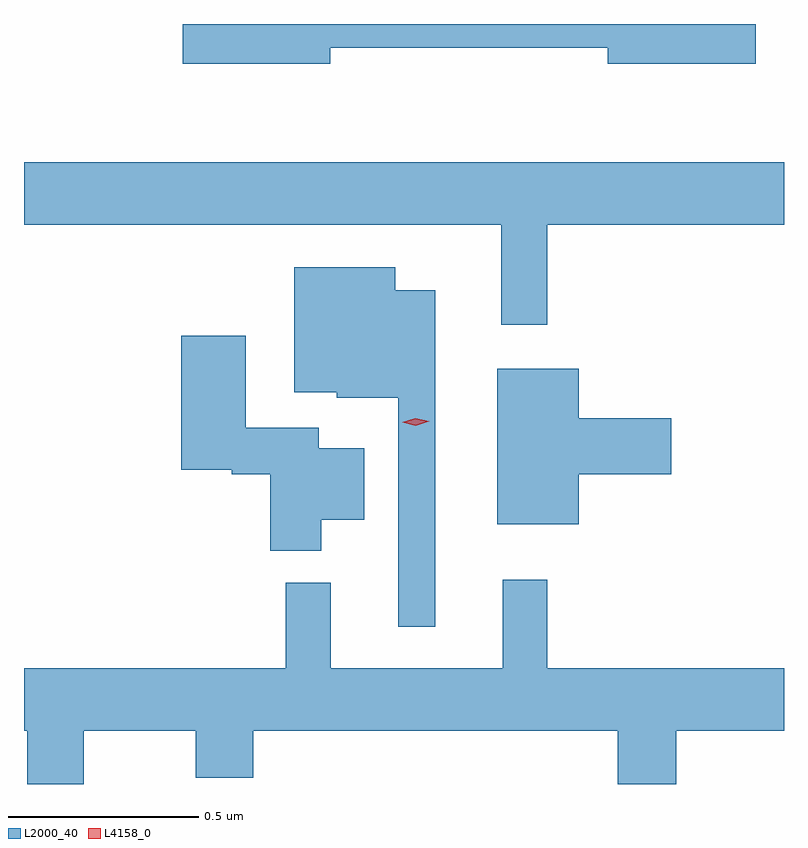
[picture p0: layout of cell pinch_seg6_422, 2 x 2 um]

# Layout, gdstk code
import gdstk
lib = gdstk.Library(unit=1e-6, precision=1e-09)
def P(c, l, *ps):  # polygons
    for p in ps: c.add(gdstk.Polygon(p, *l))
L2000_40 = (2000, 40)
L4158_0 = (4158, 0)

pinch_seg6_422 = lib.new_cell('pinch_seg6_422')
P(pinch_seg6_422, L2000_40, [(690.754,922.494),(691.484,922.494),(691.484,922.451),(691.873,922.451),(691.873,922.556),(690.366,922.556),(690.366,922.451),(690.754,922.451)],
  [(691.325,922.028),(691.948,922.028),(691.948,922.192),(689.948,922.192),(689.948,922.028),(691.204,922.028),(691.204,921.765),(691.325,921.765)],
  [(691.03,921.856),(690.925,921.856),(690.925,921.916),(690.659,921.916),(690.659,921.587),(690.771,921.587),(690.771,921.572),(690.933,921.572),(690.933,920.97),(691.03,920.97)],
  [(690.73,921.251),(690.844,921.251),(690.844,921.439),(690.724,921.439),(690.724,921.493),(690.532,921.493),(690.532,921.736),(690.362,921.736),(690.362,921.383),(690.495,921.383),(690.495,921.371),(690.596,921.371),(690.596,921.17),(690.73,921.17)],
  [(691.408,921.371),(691.651,921.371),(691.651,921.518),(691.408,921.518),(691.408,921.649),(691.193,921.649),(691.193,921.239),(691.408,921.239)],
  [(690.105,920.696),(690.4,920.696),(690.4,920.572),(690.551,920.572),(690.551,920.696),(691.511,920.696),(691.511,920.556),(691.664,920.556),(691.664,920.696),(691.948,920.696),(691.948,920.86),(691.325,920.86),(691.325,921.094),(691.208,921.094),(691.208,920.86),(690.755,920.86),(690.755,921.085),(690.637,921.085),(690.637,920.86),(689.948,920.86),(689.948,920.696),(689.957,920.696),(689.957,920.556),(690.105,920.556)])
P(pinch_seg6_422, L4158_0, [(690.979,921.499),(690.944,921.508),(690.943,921.508),(690.944,921.508),(690.978,921.519),(691.014,921.51),(691.014,921.51),(691.014,921.51)])

lib.write_gds('pinch_seg6_422.gds')
